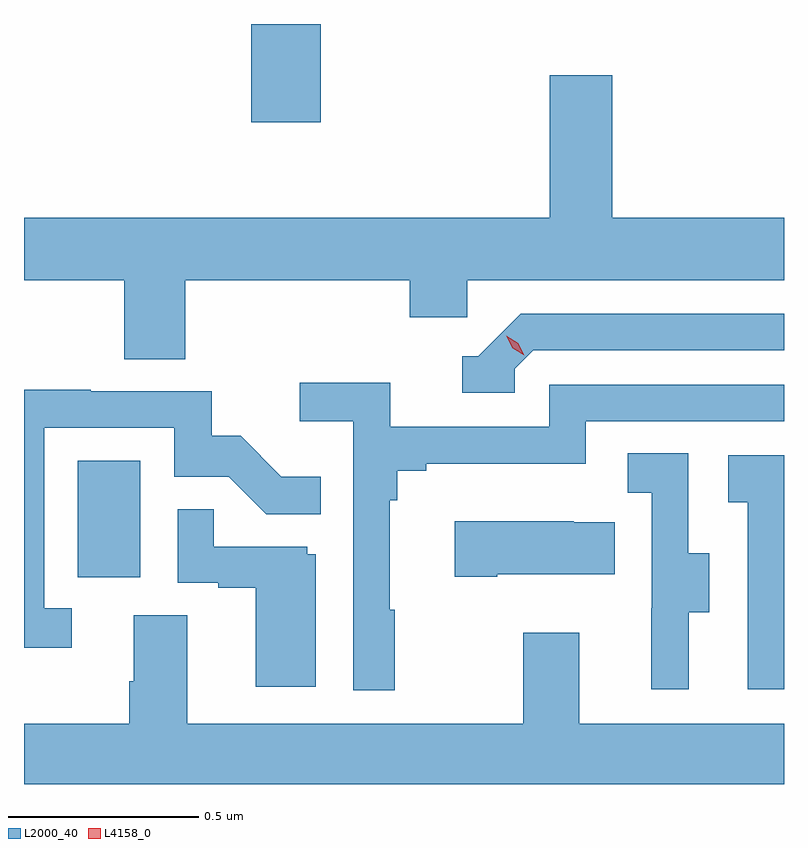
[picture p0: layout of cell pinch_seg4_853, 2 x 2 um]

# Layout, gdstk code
import gdstk
lib = gdstk.Library(unit=1e-6, precision=1e-09)
def R(c, l, rs):  # rectangles x0, y0, x1, y1
    for r in rs: c.add(gdstk.rectangle(r[:2], r[2:], *l))
def P(c, l, *ps):  # polygons
    for p in ps: c.add(gdstk.Polygon(p, *l))
L2000_40 = (2000, 40)
L4158_0 = (4158, 0)

pinch_seg4_853 = lib.new_cell('pinch_seg4_853')
R(pinch_seg4_853, L2000_40, [(859.07,801.366,859.234,801.673), (859.526,802.563,859.709,802.822)])
P(pinch_seg4_853, L2000_40, [(859.352,802.148),(859.943,802.148),(859.943,802.05),(860.094,802.05),(860.094,802.148),(860.928,802.148),(860.928,802.312),(860.476,802.312),(860.476,802.687),(860.312,802.687),(860.312,802.312),(858.928,802.312),(858.928,802.148),(859.192,802.148),(859.192,801.94),(859.352,801.94)],
  [(860.22,801.915),(860.268,801.963),(860.928,801.963),(860.928,802.059),(860.235,802.059),(860.124,801.948),(860.081,801.948),(860.081,801.852),(860.22,801.852)],
  [(859.903,801.281),(859.891,801.281),(859.891,801.569),(859.91,801.569),(859.91,801.646),(859.987,801.646),(859.987,801.665),(860.406,801.665),(860.406,801.777),(860.928,801.777),(860.928,801.873),(860.31,801.873),(860.31,801.762),(859.892,801.762),(859.892,801.878),(859.653,801.878),(859.653,801.776),(859.794,801.776),(859.794,801.069),(859.903,801.069)],
  [(859.054,801.285),(858.981,801.285),(858.981,801.759),(859.323,801.759),(859.323,801.63),(859.467,801.63),(859.565,801.532),(859.709,801.532),(859.709,801.631),(859.605,801.631),(859.498,801.738),(859.422,801.738),(859.422,801.855),(859.103,801.855),(859.103,801.86),(858.928,801.86),(858.928,801.18),(859.054,801.18)],
  [(860.677,801.274),(860.731,801.274),(860.731,801.429),(860.676,801.429),(860.676,801.692),(860.517,801.692),(860.517,801.589),(860.58,801.589),(860.58,801.285),(860.579,801.285),(860.579,801.072),(860.677,801.072)],
  [(860.928,801.687),(860.781,801.687),(860.781,801.563),(860.832,801.563),(860.832,801.072),(860.928,801.072)],
  [(859.696,801.426),(859.674,801.426),(859.674,801.447),(859.427,801.447),(859.427,801.545),(859.332,801.545),(859.332,801.351),(859.439,801.351),(859.439,801.339),(859.538,801.339),(859.538,801.078),(859.696,801.078)],
  [(860.173,801.374),(860.483,801.374),(860.483,801.511),(860.375,801.511),(860.375,801.514),(860.061,801.514),(860.061,801.367),(860.173,801.367)],
  [(860.928,800.98),(860.389,800.98),(860.389,801.22),(860.242,801.22),(860.242,800.98),(859.357,800.98),(859.357,801.266),(859.217,801.266),(859.217,801.092),(859.205,801.092),(859.205,800.98),(858.928,800.98),(858.928,800.822),(860.928,800.822)])
P(pinch_seg4_853, L4158_0, [(860.245,801.95),(860.214,801.969),(860.197,802.001),(860.197,802.001),(860.197,802.001),(860.228,801.982),(860.245,801.95),(860.245,801.95)])

lib.write_gds('pinch_seg4_853.gds')
